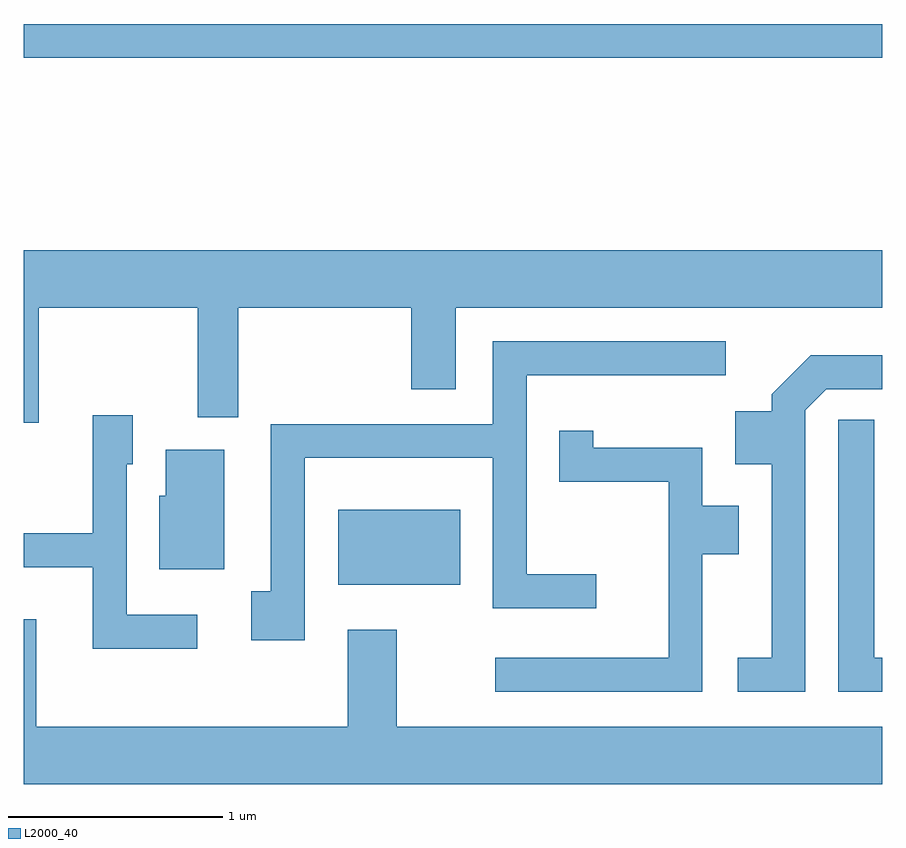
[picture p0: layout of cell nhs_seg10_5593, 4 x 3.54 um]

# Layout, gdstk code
import gdstk
lib = gdstk.Library(unit=1e-6, precision=1e-09)
def R(c, l, rs):  # rectangles x0, y0, x1, y1
    for r in rs: c.add(gdstk.rectangle(r[:2], r[2:], *l))
def P(c, l, *ps):  # polygons
    for p in ps: c.add(gdstk.Polygon(p, *l))
L2000_40 = (2000, 40)

nhs_seg10_5593 = lib.new_cell('nhs_seg10_5593')
R(nhs_seg10_5593, L2000_40, [(351.076,2165.906,351.644,2166.254), (349.611,2168.361,353.611,2168.519)])
P(nhs_seg10_5593, L2000_40, [(349.679,2167.196),(350.421,2167.196),(350.421,2166.686),(350.609,2166.686),(350.609,2167.196),(351.416,2167.196),(351.416,2166.816),(351.624,2166.816),(351.624,2167.196),(353.611,2167.196),(353.611,2167.464),(349.611,2167.464),(349.611,2166.661),(349.679,2166.661)],
  [(350.919,2166.496),(351.796,2166.496),(351.796,2165.796),(352.278,2165.796),(352.278,2165.954),(351.954,2165.954),(351.954,2166.881),(352.883,2166.881),(352.883,2167.039),(351.796,2167.039),(351.796,2166.654),(350.761,2166.654),(350.761,2165.874),(350.671,2165.874),(350.671,2165.646),(350.919,2165.646)],
  [(353.254,2166.719),(353.352,2166.816),(353.611,2166.816),(353.611,2166.974),(353.279,2166.974),(353.096,2166.792),(353.096,2166.714),(352.926,2166.714),(352.926,2166.466),(353.096,2166.466),(353.096,2165.564),(352.938,2165.564),(352.938,2165.406),(353.254,2165.406)],
  [(350.418,2165.764),(350.089,2165.764),(350.089,2166.466),(350.119,2166.466),(350.119,2166.694),(349.931,2166.694),(349.931,2166.144),(349.611,2166.144),(349.611,2165.986),(349.931,2165.986),(349.931,2165.606),(350.418,2165.606)],
  [(353.611,2165.564),(353.574,2165.564),(353.574,2166.673),(353.406,2166.673),(353.406,2165.406),(353.611,2165.406)],
  [(352.774,2166.046),(352.944,2166.046),(352.944,2166.274),(352.774,2166.274),(352.774,2166.544),(352.264,2166.544),(352.264,2166.623),(352.106,2166.623),(352.106,2166.386),(352.616,2166.386),(352.616,2165.564),(351.808,2165.564),(351.808,2165.406),(352.774,2165.406)],
  [(350.544,2166.534),(350.271,2166.534),(350.271,2166.319),(350.241,2166.319),(350.241,2165.976),(350.544,2165.976)],
  [(353.611,2165.244),(351.349,2165.244),(351.349,2165.694),(351.121,2165.694),(351.121,2165.244),(349.669,2165.244),(349.669,2165.744),(349.611,2165.744),(349.611,2164.976),(353.611,2164.976)])

lib.write_gds('nhs_seg10_5593.gds')
